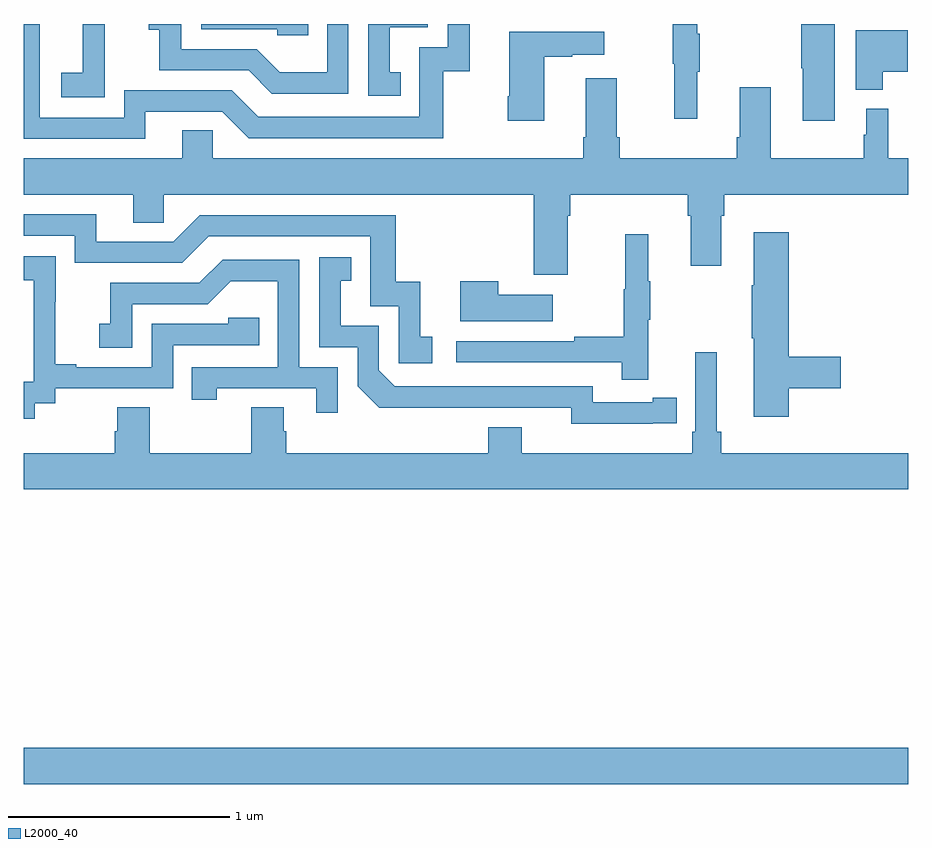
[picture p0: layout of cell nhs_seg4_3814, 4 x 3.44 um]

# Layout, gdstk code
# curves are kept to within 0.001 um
import gdstk
lib = gdstk.Library(unit=1e-6, precision=1e-09)
def R(c, l, rs):  # rectangles x0, y0, x1, y1
    for r in rs: c.add(gdstk.rectangle(r[:2], r[2:], *l))
def P(c, l, *ps):  # polygons
    for p in ps: c.add(gdstk.Polygon(p, *l))
L2000_40 = (2000, 40)

nhs_seg4_3814 = lib.new_cell('nhs_seg4_3814')
R(nhs_seg4_3814, L2000_40, [(311,819.464,315,819.628)])
P(nhs_seg4_3814, L2000_40, [(314.045,822.683),(314.056,822.683),(314.056,822.857),(314.045,822.857),(314.045,822.9),(313.935,822.9),(313.935,822.72),(313.942,822.72),(313.942,822.471),(314.045,822.471)],
  [(311.551,822.504),(311.898,822.504),(312.018,822.384),(312.898,822.384),(312.898,822.687),(313.016,822.687),(313.016,822.9),(312.918,822.9),(312.918,822.795),(312.789,822.795),(312.789,822.48),(312.06,822.48),(311.94,822.6),(311.454,822.6),(311.454,822.477),(311.073,822.477),(311.073,822.9),(311,822.9),(311,822.381),(311.551,822.381)],
  [(312.468,822.9),(312.372,822.9),(312.372,822.682),(312.158,822.682),(312.054,822.786),(311.712,822.786),(311.712,822.9),(311.565,822.9),(311.565,822.875),(311.614,822.875),(311.614,822.69),(312.017,822.69),(312.122,822.585),(312.468,822.585)],
  [(314.668,822.9),(314.515,822.9),(314.515,822.7),(314.522,822.7),(314.522,822.462),(314.668,822.462)],
  [(312.704,822.681),(312.655,822.681),(312.655,822.885),(312.828,822.885),(312.828,822.9),(312.558,822.9),(312.558,822.576),(312.704,822.576)],
  [(311.367,822.775),(311.366,822.775),(311.366,822.9),(311.267,822.9),(311.267,822.679),(311.169,822.679),(311.169,822.569),(311.367,822.569)],
  [(312.287,822.9),(311.802,822.9),(311.802,822.876),(312.147,822.876),(312.147,822.849),(312.287,822.849)],
  [(314.884,822.683),(314.998,822.683),(314.998,822.871),(314.762,822.871),(314.762,822.602),(314.884,822.602)],
  [(313.354,822.751),(313.481,822.751),(313.481,822.761),(313.624,822.761),(313.624,822.865),(313.196,822.865),(313.196,822.574),(313.189,822.574),(313.189,822.462),(313.354,822.462)],
  [(313.459,822.032),(313.472,822.032),(313.472,822.128),(314.003,822.128),(314.003,822.032),(314.015,822.032),(314.015,821.808),(314.155,821.808),(314.155,822.032),(314.168,822.032),(314.168,822.128),(315,822.128),(315,822.292),(314.909,822.292),(314.909,822.517),(314.81,822.517),(314.81,822.399),(314.799,822.399),(314.799,822.292),(314.377,822.292),(314.377,822.613),(314.237,822.613),(314.237,822.388),(314.225,822.388),(314.225,822.292),(313.694,822.292),(313.694,822.388),(313.681,822.388),(313.681,822.655),(313.541,822.655),(313.541,822.388),(313.529,822.388),(313.529,822.292),(311.856,822.292),(311.856,822.419),(311.717,822.419),(311.717,822.292),(311,822.292),(311,822.128),(311.495,822.128),(311.495,822.001),(311.634,822.001),(311.634,822.128),(313.307,822.128),(313.307,821.766),(313.459,821.766)],
  [(312.847,821.487),(312.794,821.487),(312.794,821.734),(312.683,821.734),(312.683,822.036),(311.796,822.036),(311.676,821.916),(311.329,821.916),(311.329,822.039),(311,822.039),(311,821.943),(311.232,821.943),(311.232,821.82),(311.718,821.82),(311.838,821.94),(312.567,821.94),(312.567,821.625),(312.696,821.625),(312.696,821.367),(312.847,821.367)],
  [(314.459,821.254),(314.695,821.254),(314.695,821.396),(314.459,821.396),(314.459,821.959),(314.3,821.959),(314.3,821.72),(314.293,821.72),(314.293,821.479),(314.3,821.479),(314.3,821.124),(314.459,821.124)],
  [(313.823,821.563),(313.834,821.563),(313.834,821.737),(313.823,821.737),(313.823,821.95),(313.72,821.95),(313.72,821.7),(313.713,821.7),(313.713,821.486),(313.489,821.486),(313.489,821.466),(312.957,821.466),(312.957,821.37),(313.705,821.37),(313.705,821.292),(313.823,821.292)],
  [(311.05,821.185),(311.142,821.185),(311.142,821.253),(311.676,821.253),(311.676,821.448),(312.065,821.448),(312.065,821.571),(311.925,821.571),(311.925,821.544),(311.58,821.544),(311.58,821.349),(311.239,821.349),(311.239,821.362),(311.144,821.362),(311.144,821.645),(311.145,821.645),(311.145,821.851),(311,821.851),(311,821.741),(311.045,821.741),(311.045,821.513),(311.046,821.513),(311.046,821.283),(311,821.283),(311,821.115),(311.05,821.115)],
  [(313.844,821.094),(313.952,821.094),(313.952,821.21),(313.844,821.21),(313.844,821.19),(313.572,821.19),(313.572,821.262),(312.678,821.262),(312.606,821.334),(312.606,821.535),(312.433,821.535),(312.433,821.739),(312.482,821.739),(312.482,821.845),(312.336,821.845),(312.336,821.439),(312.51,821.439),(312.51,821.262),(312.608,821.165),(313.476,821.166),(313.476,821.093)],
  [(312.42,821.349),(312.246,821.349),(312.246,821.835),(311.9,821.835),(311.795,821.73),(311.392,821.73),(311.392,821.545),(311.343,821.545),(311.343,821.436),(311.49,821.436),(311.49,821.634),(311.832,821.634),(311.936,821.738),(312.15,821.738),(312.15,821.349),(311.761,821.349),(311.761,821.202),(311.872,821.202),(311.872,821.253),(312.323,821.253),(312.323,821.142),(312.42,821.142)],
  [(313.393,821.677),(313.145,821.677),(313.145,821.737),(312.974,821.737),(312.974,821.555),(313.393,821.555)],
  [(315,820.96),(314.153,820.96),(314.153,821.056),(314.134,821.056),(314.134,821.416),(314.037,821.416),(314.037,821.056),(314.024,821.056),(314.024,820.96),(313.252,820.96),(313.252,821.077),(313.1,821.077),(313.1,820.96),(312.188,820.96),(312.188,821.058),(312.175,821.058),(312.175,821.168),(312.028,821.168),(312.028,820.96),(311.571,820.96),(311.571,821.168),(311.423,821.168),(311.423,821.058),(311.411,821.058),(311.411,820.96),(311,820.96),(311,820.796),(315,820.796)])

lib.write_gds('nhs_seg4_3814.gds')
